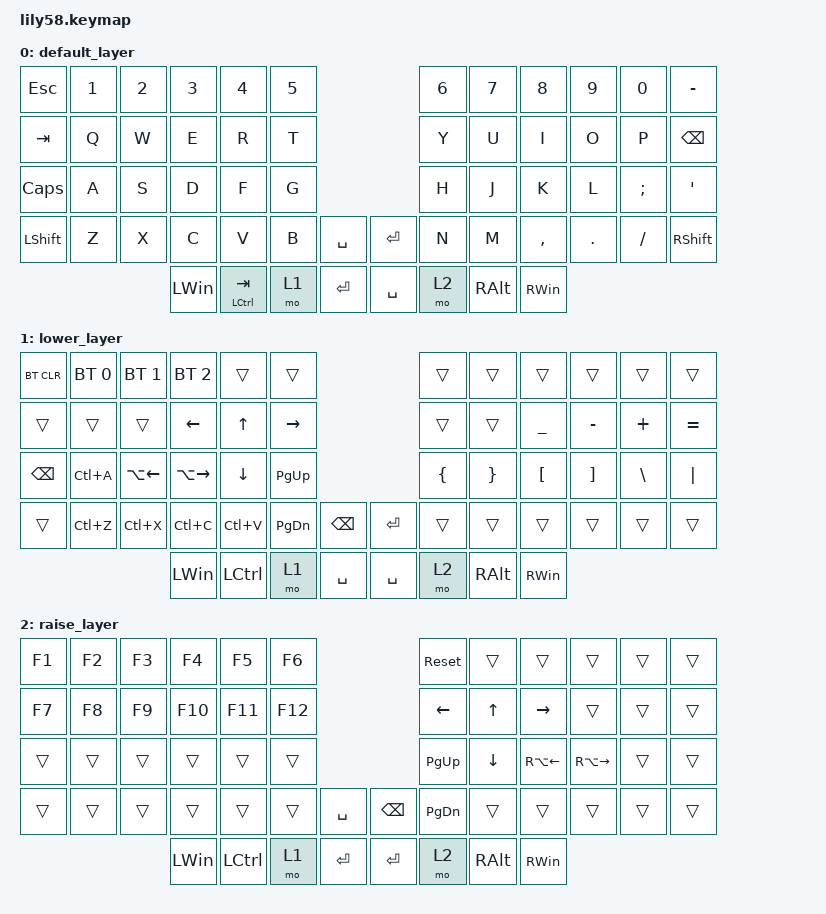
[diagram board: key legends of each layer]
/* WINDOWS KEMAP */

/*
 * Copyright (c) 2020 The ZMK Contributors
 *
 * SPDX-License-Identifier: MIT
 */

#include <behaviors.dtsi>
#include <dt-bindings/zmk/keys.h>
#include <dt-bindings/zmk/bt.h>
#include <dt-bindings/zmk/ext_power.h> 

&mt {
    tapping-term-ms = <200>;
};

/ {      
//KEYMAP SECTION STARTS
	keymap {
		compatible = "zmk,keymap";
		default_layer {
// ------------------------------------------------------------------------------------------------------------
// |  ESC  |  1  |  2  |  3   |  4   |  5   |                   |  6   |  7    |  8    |  9   |   0   | MINUS |
// |  TAB  |  Q  |  W  |  E   |  R   |  T   |                   |  Y   |  U    |  I    |  O   |   P   |  BSPC |
// |  CLCK |  A  |  S  |  D   |  F   |  G   |                   |  H   |  J    |  K    |  L   |   ;   |   '   |
// | SHIFT |  Z  |  X  |  C   |  V   |  B   |  SPACE |  | ENTER |  N   |  M    |  ,    |  .   |   /   | SHIFT |
//                     | WIN  | CTRL |LOWER |  ENTER |  | SPACE | RAISE|  ALT  |  WIN  |			
			bindings = <
&kp ESC   &kp N1 &kp N2 &kp N3      &kp N4         &kp N5                                 &kp N6  &kp N7     &kp N8      &kp N9  &kp N0     &kp MINUS
&kp TAB   &kp Q  &kp W  &kp E       &kp R          &kp T                                  &kp Y   &kp U      &kp I       &kp O   &kp P      &kp BSPC
&kp CLCK  &kp A  &kp S  &kp D       &kp F          &kp G                                  &kp H   &kp J      &kp K       &kp L   &kp SEMI   &kp SQT
&kp LSHFT &kp Z  &kp X  &kp C       &kp V          &kp B  &kp SPACE      &kp ENTER        &kp N   &kp M      &kp COMMA   &kp DOT &kp FSLH   &kp RSHFT
                        &kp LWIN    &mt LCTRL TAB  &mo 1  &kp ENTER      &kp SPACE        &mo 2   &kp RALT   &kp RWIN
			>;
		};
		lower_layer {
// ------------------------------------------------------------------------------------------------------------
// | BTCLR | BT0 | BT1 |  BT2 |      |      |                   | LHalf | RHalf |       |      |       |       |
// |       |     |     |  LFT |  UP  |  RGT |                   |       |       |   _   |  -   |   +   |   =   |
// |       |     | BCK |  FWD |  DWN | PGUP |                   |   {   |   }   |   [   |  ]   |   \   |   |   |
// |       |     |     |      |      | PGDN |  BSPC  |  | ENTER |       |       |       |      |       |       |
//                     | WIN  | CTRL |      |  SPACE |  | SPACE |       |  ALT  |  WIN  |			
			bindings = <
&bt BT_CLR   &bt BT_SEL 0     &bt BT_SEL 1      &bt BT_SEL 2      &trans        &trans                                     &trans              &trans             &trans      &trans      &trans       &trans
&trans       &trans           &trans            &kp LEFT          &kp UP        &kp RIGHT                                  &trans   	       &trans             &kp UNDER   &kp MINUS   &kp PLUS     &kp EQUAL
&kp BSPC     &kp LC(A)        &kp LA(LEFT)      &kp LA(RIGHT)     &kp DOWN      &kp PG_UP                                  &kp LBRC            &kp RBRC           &kp LBKT    &kp RBKT    &kp BSLH     &kp PIPE
&trans       &kp LC(Z)        &kp LC(X)         &kp LC(C)         &kp LC(V)     &kp PG_DN   &kp BSPC           &kp ENTER   &trans              &trans             &trans      &trans      &trans       &trans
                                                &kp LWIN          &kp LCTRL     &mo 1       &kp SPACE          &kp SPACE   &mo 2               &kp RALT           &kp RWIN
			>;
		};
		raise_layer {
// ------------------------------------------------------------------------------------------------------------
// |  F1   |  F2 |  F3 |   F4 |  F5  |  F6  |                   | RST  |       |       |      |       |       |
// |  F7   |  F8 |  F9 |  F10 | F11  |  F12 |                   | LFT  |  UP   |  RGT  |      |       |       |
// |       |     |     |      |      |      |                   | PGDN |  DWN  |  BCK  |  FWD |       |       |
// |       |     |     |      |      |      |  BSPC  |  | BSPC  | PGUP |       |       |      |       |       |
//                     | WIN  | CTRL |      |  SPACE |  | ENTER |      |  ALT  |  WIN  |
			bindings = <
&kp F1      &kp F2    &kp F3    &kp F4       &kp F5        &kp F6                                    &sys_reset  &trans       &trans           &trans            &trans     &trans
&kp F7      &kp F8    &kp F9    &kp F10      &kp F11       &kp F12                                   &kp LEFT    &kp UP       &kp RIGHT        &trans            &trans     &trans
&trans      &trans    &trans    &trans       &trans        &trans                                    &kp PG_UP   &kp DOWN     &kp RA(LEFT)     &kp RA(RIGHT)     &trans     &trans
&trans      &trans    &trans    &trans       &trans        &trans     &kp SPACE       &kp BSPC       &kp PG_DN   &trans       &trans           &trans            &trans     &trans
                                &kp LWIN     &kp LCTRL     &mo 1      &kp ENTER       &kp ENTER      &mo 2       &kp RALT     &kp RWIN 
			>;

		};
	};
};
